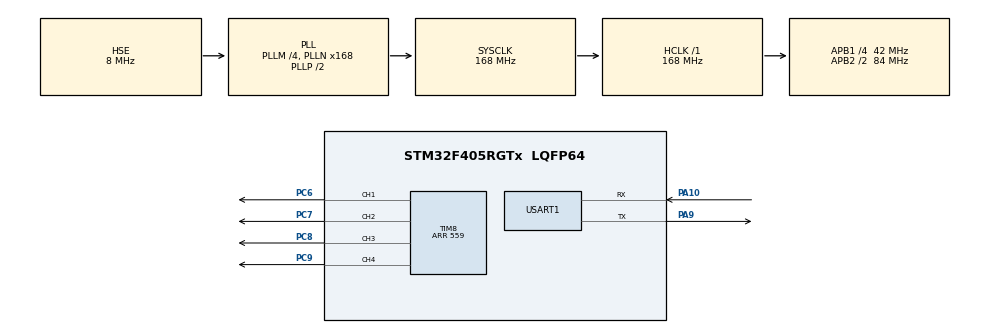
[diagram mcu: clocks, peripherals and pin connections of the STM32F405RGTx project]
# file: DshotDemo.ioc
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Dma.Request0=TIM8_CH1
Dma.Request1=TIM8_CH2
Dma.Request2=TIM8_CH3
Dma.Request3=TIM8_CH4/TRIG/COM
Dma.TIM8_CH1.0.Direction=DMA_MEMORY_TO_PERIPH
Dma.TIM8_CH1.0.FIFOMode=DMA_FIFOMODE_DISABLE
Dma.TIM8_CH1.0.Instance=DMA2_Stream2
Dma.TIM8_CH1.0.MemDataAlignment=DMA_MDATAALIGN_HALFWORD
Dma.TIM8_CH1.0.MemInc=DMA_MINC_ENABLE
Dma.TIM8_CH1.0.Mode=DMA_NORMAL
Dma.TIM8_CH1.0.PeriphDataAlignment=DMA_PDATAALIGN_HALFWORD
Dma.TIM8_CH1.0.PeriphInc=DMA_PINC_DISABLE
Dma.TIM8_CH1.0.Priority=DMA_PRIORITY_LOW
Dma.TIM8_CH2.1.Direction=DMA_MEMORY_TO_PERIPH
Dma.TIM8_CH2.1.FIFOMode=DMA_FIFOMODE_DISABLE
Dma.TIM8_CH2.1.Instance=DMA2_Stream3
Dma.TIM8_CH2.1.MemDataAlignment=DMA_MDATAALIGN_HALFWORD
Dma.TIM8_CH2.1.MemInc=DMA_MINC_ENABLE
Dma.TIM8_CH2.1.Mode=DMA_NORMAL
Dma.TIM8_CH2.1.PeriphDataAlignment=DMA_PDATAALIGN_HALFWORD
Dma.TIM8_CH2.1.PeriphInc=DMA_PINC_DISABLE
Dma.TIM8_CH2.1.Priority=DMA_PRIORITY_LOW
Dma.TIM8_CH3.2.Direction=DMA_MEMORY_TO_PERIPH
Dma.TIM8_CH3.2.FIFOMode=DMA_FIFOMODE_DISABLE
Dma.TIM8_CH3.2.Instance=DMA2_Stream4
Dma.TIM8_CH3.2.MemDataAlignment=DMA_MDATAALIGN_HALFWORD
Dma.TIM8_CH3.2.MemInc=DMA_MINC_ENABLE
Dma.TIM8_CH3.2.Mode=DMA_NORMAL
Dma.TIM8_CH3.2.PeriphDataAlignment=DMA_PDATAALIGN_HALFWORD
Dma.TIM8_CH3.2.PeriphInc=DMA_PINC_DISABLE
Dma.TIM8_CH3.2.Priority=DMA_PRIORITY_LOW
Dma.TIM8_CH4/TRIG/COM.3.Direction=DMA_MEMORY_TO_PERIPH
Dma.TIM8_CH4/TRIG/COM.3.FIFOMode=DMA_FIFOMODE_DISABLE
Dma.TIM8_CH4/TRIG/COM.3.Instance=DMA2_Stream7
Dma.TIM8_CH4/TRIG/COM.3.MemDataAlignment=DMA_MDATAALIGN_HALFWORD
Dma.TIM8_CH4/TRIG/COM.3.MemInc=DMA_MINC_ENABLE
Dma.TIM8_CH4/TRIG/COM.3.Mode=DMA_NORMAL
Dma.TIM8_CH4/TRIG/COM.3.PeriphDataAlignment=DMA_PDATAALIGN_HALFWORD
Dma.TIM8_CH4/TRIG/COM.3.PeriphInc=DMA_PINC_DISABLE
Dma.TIM8_CH4/TRIG/COM.3.Priority=DMA_PRIORITY_LOW
Mcu.Family=STM32F4
Mcu.Name=STM32F405RGTx
Mcu.Package=LQFP64
NVIC.DMA2_Stream2_IRQn=true\:0\:0\:false\:false\:true\:false\:true\:true
NVIC.DMA2_Stream3_IRQn=true\:0\:0\:false\:false\:true\:false\:true\:true
NVIC.DMA2_Stream4_IRQn=true\:0\:0\:false\:false\:true\:false\:true\:true
NVIC.DMA2_Stream7_IRQn=true\:0\:0\:false\:false\:true\:false\:true\:true
NVIC.PriorityGroup=NVIC_PRIORITYGROUP_4
NVIC.TIM7_IRQn=true\:0\:0\:false\:false\:true\:true\:true\:true
NVIC.TIM8_UP_TIM13_IRQn=true\:0\:0\:false\:false\:true\:true\:true\:true
PA10.Mode=Asynchronous
PA10.Signal=USART1_RX
PA13.Mode=Serial_Wire
PA13.Signal=SYS_JTMS-SWDIO
PA14.Mode=Serial_Wire
PA14.Signal=SYS_JTCK-SWCLK
PA9.Mode=Asynchronous
PA9.Signal=USART1_TX
PC6.Signal=S_TIM8_CH1
PC7.Signal=S_TIM8_CH2
PC8.Signal=S_TIM8_CH3
PC9.Signal=S_TIM8_CH4
PH0-OSC_IN.Mode=HSE-External-Oscillator
PH0-OSC_IN.Signal=RCC_OSC_IN
PH1-OSC_OUT.Mode=HSE-External-Oscillator
PH1-OSC_OUT.Signal=RCC_OSC_OUT
ProjectManager.HeapSize=0x200
ProjectManager.StackSize=0x400
ProjectManager.TargetToolchain=MDK-ARM V5.32
RCC.48MHZClocksFreq_Value=84000000
RCC.AHBFreq_Value=168000000
RCC.APB1CLKDivider=RCC_HCLK_DIV4
RCC.APB1Freq_Value=42000000
RCC.APB1TimFreq_Value=84000000
RCC.APB2CLKDivider=RCC_HCLK_DIV2
RCC.APB2Freq_Value=84000000
RCC.APB2TimFreq_Value=168000000
RCC.CortexFreq_Value=168000000
RCC.HCLKFreq_Value=168000000
RCC.HSE_VALUE=8000000
RCC.HSI_VALUE=16000000
RCC.LSE_VALUE=32768
RCC.PLLM=4
RCC.PLLN=168
RCC.PLLSourceVirtual=RCC_PLLSOURCE_HSE
RCC.SYSCLKFreq_VALUE=168000000
RCC.SYSCLKSource=RCC_SYSCLKSOURCE_PLLCLK
RCC.VCOOutputFreq_Value=336000000
SH.S_TIM8_CH1.0=TIM8_CH1,PWM Generation1 CH1
SH.S_TIM8_CH2.0=TIM8_CH2,PWM Generation2 CH2
SH.S_TIM8_CH3.0=TIM8_CH3,PWM Generation3 CH3
SH.S_TIM8_CH4.0=TIM8_CH4,PWM Generation4 CH4
TIM7.Period=9999
TIM7.Prescaler=83
TIM8.Channel-PWM\ Generation1\ CH1=TIM_CHANNEL_1
TIM8.Channel-PWM\ Generation2\ CH2=TIM_CHANNEL_2
TIM8.Channel-PWM\ Generation3\ CH3=TIM_CHANNEL_3
TIM8.Channel-PWM\ Generation4\ CH4=TIM_CHANNEL_4
TIM8.Period=559
USART1.VirtualMode=VM_ASYNC
VP_TIM7_VS_ClockSourceINT.Mode=Enable_Timer
VP_TIM8_VS_ClockSourceINT.Mode=Internal
board=custom

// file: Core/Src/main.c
/* USER CODE BEGIN Header */
/**
  ******************************************************************************
  * @file           : main.c
  * @brief          : Main program body
  ******************************************************************************
  * @attention
  *
  * Copyright (c) 2025 STMicroelectronics.
  * All rights reserved.
  *
  * This software is licensed under terms that can be found in the LICENSE file
  * in the root directory of this software component.
  * If no LICENSE file comes with this software, it is provided AS-IS.
  *
  ******************************************************************************
  */
/* USER CODE END Header */
#include "main.h"
#include "dma.h"
#include "tim.h"
#include "usart.h"
#include "gpio.h"

/* USER CODE BEGIN Includes */
#include <stdio.h>
#include "bsp_dshot.h"
/* USER CODE END Includes */

void SystemClock_Config(void);

int main(void)
{

  /* MCU Configuration--------------------------------------------------------*/

  /* Reset of all peripherals, Initializes the Flash interface and the Systick. */
  HAL_Init();

  /* Configure the system clock */
  SystemClock_Config();

  /* Initialize all configured peripherals */
  MX_GPIO_Init();
  MX_DMA_Init();
  MX_TIM8_Init();
  MX_TIM7_Init();
  MX_USART1_UART_Init();
  /* USER CODE BEGIN 2 */

	//等待电调开机
	HAL_Delay(1000);

	//启动定时器中断
	HAL_TIM_Base_Start_IT(&htim7);

  /* USER CODE END 2 */

  /* Infinite loop */
  while (1)
  {

  }
}

void SystemClock_Config(void)
{
  RCC_OscInitTypeDef RCC_OscInitStruct = {0};
  RCC_ClkInitTypeDef RCC_ClkInitStruct = {0};

  /** Configure the main internal regulator output voltage
  */
  __HAL_RCC_PWR_CLK_ENABLE();
  __HAL_PWR_VOLTAGESCALING_CONFIG(PWR_REGULATOR_VOLTAGE_SCALE1);

  /** Initializes the RCC Oscillators according to the specified parameters
  * in the RCC_OscInitTypeDef structure.
  */
  RCC_OscInitStruct.OscillatorType = RCC_OSCILLATORTYPE_HSE;
  RCC_OscInitStruct.HSEState = RCC_HSE_ON;
  RCC_OscInitStruct.PLL.PLLState = RCC_PLL_ON;
  RCC_OscInitStruct.PLL.PLLSource = RCC_PLLSOURCE_HSE;
  RCC_OscInitStruct.PLL.PLLM = 4;
  RCC_OscInitStruct.PLL.PLLN = 168;
  RCC_OscInitStruct.PLL.PLLP = RCC_PLLP_DIV2;
  RCC_OscInitStruct.PLL.PLLQ = 4;
  if (HAL_RCC_OscConfig(&RCC_OscInitStruct) != HAL_OK)
  {
    Error_Handler();
  }

  /** Initializes the CPU, AHB and APB buses clocks
  */
  RCC_ClkInitStruct.ClockType = RCC_CLOCKTYPE_HCLK|RCC_CLOCKTYPE_SYSCLK
                              |RCC_CLOCKTYPE_PCLK1|RCC_CLOCKTYPE_PCLK2;
  RCC_ClkInitStruct.SYSCLKSource = RCC_SYSCLKSOURCE_PLLCLK;
  RCC_ClkInitStruct.AHBCLKDivider = RCC_SYSCLK_DIV1;
  RCC_ClkInitStruct.APB1CLKDivider = RCC_HCLK_DIV4;
  RCC_ClkInitStruct.APB2CLKDivider = RCC_HCLK_DIV2;

  if (HAL_RCC_ClockConfig(&RCC_ClkInitStruct, FLASH_LATENCY_5) != HAL_OK)
  {
    Error_Handler();
  }
}

/* USER CODE BEGIN 4 */

UART_HandleTypeDef *DebugSerial = &huart1;

//实现printf、scanf函数
int fputc(int ch,FILE* stream)
{
	while( HAL_OK != HAL_UART_Transmit(DebugSerial,(const uint8_t *)&ch,1,100));
	return ch;
}

void HAL_TIM_PeriodElapsedCallback(TIM_HandleTypeDef *htim)
{
	//定时器中断,频率100Hz
	if( htim == &htim7 )
	{
		//开机计时
		static uint16_t StartCnt = 0;

		//Dshot电机对象
		pMotorInterface_t dshot = &UserDshotMotor;

		//电机对象
		dshotMotorVal_t m1,m2,m3,m4;

		//前4秒发送0油门解锁电调
		if( StartCnt<=400 )StartCnt++;
		if( StartCnt<400 )
		{
			m1.Telemetry=0;m1.throttle=48;
			m2.Telemetry=0;m2.throttle=48;
			m3.Telemetry=0;m3.throttle=48;
			m4.Telemetry=0;m4.throttle=48;
		}

		//油门解锁后执行电机控制,可以随意改变油门值
		if( StartCnt > 400 )
		{
			m1.Telemetry=0;m1.throttle=150;
			m2.Telemetry=0;m2.throttle=150;
			m3.Telemetry=0;m3.throttle=150;
			m4.Telemetry=0;m4.throttle=150;
		}

		//发送命令到电机
		dshot->set_target(m1,m2,m3,m4);

	}
}

/* USER CODE END 4 */

void Error_Handler(void)
{
  __disable_irq();
  while (1)
  {
  }
}
